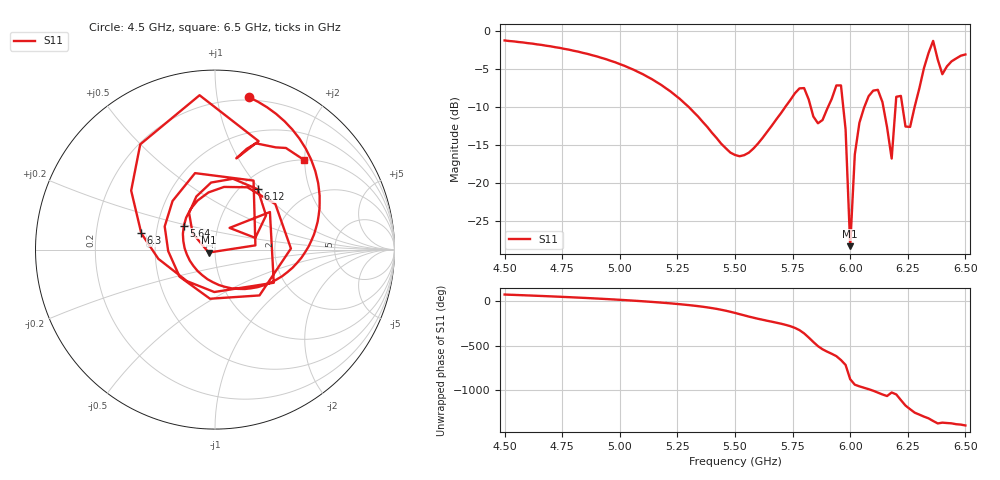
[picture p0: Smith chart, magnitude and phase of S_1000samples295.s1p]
! TOUCHSTONE file generated by CST MICROWAVE STUDIO
! Date and time: Thu Oct 27 16:18:09 2022
! Project name: L.cst
! Parameters = {Di=1.27; Epsilon_r=1.56; InnerDiameter=1.27; Length=2; Lf=10; Lg=60; OuterConductorThickness=0.2921; OuterDiameter=3.6; Wf=3; Wp=41.2; de=1.5; df=6.8; g=0.8; gx=3.00956; gy=2.77822; h=2.34; hf=1.524; px=13.7623; py=14.585; w=9.7; wx=10.7527; wy=11.8068}
! Header version: 2018
! Port assignment regex: !\s*Touchstone port\s*([0-9]+)\s*=\s*(CST MWS port|CST DS port)\s*([0-9]+|Zmin|Zmax)\s*\(\"(.*)\"\)(\s*mode\s*([0-9]+))?.*
! Touchstone port assignment:
! Touchstone port 1 = CST MWS port 1 ("")
# GHz S DB R 50
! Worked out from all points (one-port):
!   101 points, 4.5 GHz to 6.5 GHz, reference 50 ohm
!   lowest |S11| = -28.3 dB at 6 GHz (marker M1), VSWR 1.08, Z = 46.6 - j1.54 ohm
!   |S11| at or under -10 dB: 5.301 GHz to 5.717 GHz (416.5 MHz wide, 7.56 % of centre); 5.829 GHz to 5.903 GHz (74.02 MHz wide, 1.26 % of centre); 5.97 GHz to 6.061 GHz (90.89 MHz wide, 1.51 % of centre) (the widest 3 of 5)
!   S11 on the Smith chart (normalised r, x): 4.5 GHz: 0.18, +1.23; 5.64 GHz: 0.68, +0.19; 6.12 GHz: 1.20, +0.97; 6.3 GHz: 0.41, +0.09; 6.5 GHz: 1.00, +1.98
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4.5  -1.21 77.6
4.76  -2.32 50.3
5  -4.32 18.3
5.26  -8.88 -30.9
5.5  -16.27 -129.1
5.64  -13.20 142.5
5.76  -8.15 62.6
5.8  -7.47 0.8
5.84  -11.21 -95.8
5.9  -10.21 155.3
5.94  -7.12 104.6
5.96  -7.12 60.8
5.98  -12.90 6.0
6  -28.26 -154.7
6.02  -16.20 143.8
6.04  -12.03 125.2
6.12  -7.70 54.7
6.16  -12.62 16.2
6.18  -16.73 56.1
6.2  -8.62 34.4
6.22  -8.50 -29.4
6.26  -12.58 -131.5
6.3  -7.52 167.5
6.34  -2.86 125.4
6.36  -1.27 95.7
6.38  -3.72 68.1
6.4  -5.65 76.8
6.5  -3.05 45.3
